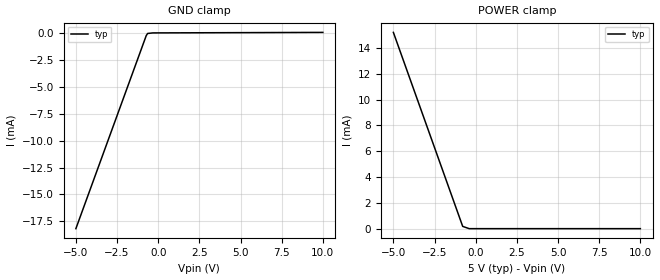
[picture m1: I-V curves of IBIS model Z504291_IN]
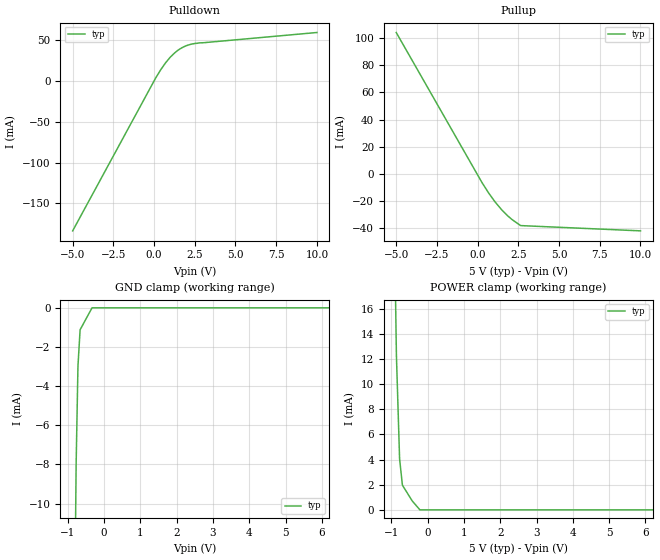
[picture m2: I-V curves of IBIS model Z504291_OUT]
| YOU ARE ONLY AUTHORIZED TO USE THIS SOFTWARE
| ACCORDING TO LICENSOR'S LICENSE RESTRICTIONS.
[IBIS Ver] 3.1
[File Name] mc54hct138aj.ibs
[File Rev] 2.0
[Source] Measured and created by ICX Technology
[Date] Friday 7/14/00 9:08:11 AM
[Copyright]
| (C) COPYRIGHT 1993-2000
| MENTOR GRAPHICS CORPORATION
| ICX STANDARD LIBRARY, ICX PROJECT MODELING,
| ICX CUSTOM MODELING, ICX VENDOR MODEL
| ALL RIGHTS RESERVED.
| THE FOLLOWING ARE TRADEMARKS OR SERVICE MARKS OF
| MENTOR GRAPHICS CORPORATION:ICX (R), ICX STANDARD
| LIBRARY(R), ICX PROJECT MODELING(R), ICX CUSTOM
| MODELING(R), qualityIBIS(TM), MODELVIEWER(TM),
| AND MODELEDITOR(TM)
| ALL COPIES OF SOFTWARE, INCLUDING BUT NOT LIMITED TO
| ANY MODIFICATIONS, ENHANCEMENTS OR DERIVATIVE WORKS,
| MUST CONTAIN ALL MENTOR GRAPHICS CORPORATION'S
| NOTICES AND LEGENDS, INCLUDING THOSE EMBEDDED IN
| SOFTWARE AND THOSE AFFIXED TO SOFTWARE MEDIUM
| AND CONTAINER, AS RECEIVED FROM MENTOR GRAPHICS
| CORPORATION.
|  ZAP Model Builder 2.7
[Component] MC54HCT138AJ
[Manufacturer] OnSemiconductor
[Package]
| variable   typ   min   max
R_pkg  .212ohms NA NA
L_pkg  4.758nH NA NA
C_pkg  1.143pF NA NA
[Pin] signal_name  model_name  R_pin  L_pin C_pin
1 A Z504291_IN .224 7.258n 1.578p
2 B Z504291_IN .216 5.258n 1.288p
3 C Z504291_IN .208 3.758n .998p
4 _G3 Z504291_IN .2 2.758n .708p
5 _G2 Z504291_IN .2 2.758n .708p
6 G1 Z504291_IN .208 3.758n .998p
7 _Y7 Z504291_OUT .216 5.258n 1.288p
8 GND GND .224 7.258n 1.578p
9 _Y6 Z504291_OUT .224 7.258n 1.578p
10 _Y5 Z504291_OUT .216 5.258n 1.288p
11 _Y4 Z504291_OUT .208 3.758n .998p
12 _Y3 Z504291_OUT .2 2.758n .708p
13 _Y2 Z504291_OUT .2 2.758n .708p
14 _Y1 Z504291_OUT .208 3.758n .998p
15 _Y0 Z504291_OUT .216 5.258n 1.288p
16 VCC POWER .224 7.258n 1.578p
| Models and submodels in the file (2): Z504291_IN (Input), Z504291_OUT (Output)
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| (C) COPYRIGHT 1993-2000
| MENTOR GRAPHICS CORPORATION
| ICX STANDARD LIBRARY, ICX PROJECT MODELING,
| ICX CUSTOM MODELING, ICX VENDOR MODEL
| ALL RIGHTS RESERVED.
| THE FOLLOWING ARE TRADEMARKS OR SERVICE MARKS OF
| MENTOR GRAPHICS CORPORATION:ICX (R), ICX STANDARD
| LIBRARY(R), ICX PROJECT MODELING(R), ICX CUSTOM
| MODELING(R), qualityIBIS(TM), MODELVIEWER(TM),
| AND MODELEDITOR(TM)
| ALL COPIES OF SOFTWARE, INCLUDING BUT NOT LIMITED TO
| ANY MODIFICATIONS, ENHANCEMENTS OR DERIVATIVE WORKS,
| MUST CONTAIN ALL MENTOR GRAPHICS CORPORATION'S
| NOTICES AND LEGENDS, INCLUDING THOSE EMBEDDED IN
| SOFTWARE AND THOSE AFFIXED TO SOFTWARE MEDIUM
| AND CONTAINER, AS RECEIVED FROM MENTOR GRAPHICS
| CORPORATION.
| Model Application Version 1.89 2/18/99.
[Model] Z504291_IN
Model_type Input
Vinl = 800.0mV
Vinh = 2.000V
C_comp 4.000pF NA NA
| variable typ   min   max
[Voltage Range] 5.000V NA NA
[GND Clamp Reference] 0.000V NA NA
[POWER Clamp Reference] 5.000V NA NA
[GND Clamp]
-5V       -18.17mA   NA         NA
-727mV    -266.7uA   NA         NA
-644.5mV  -67.21uA   NA         NA
-322.3mV  -14.3uA    NA         NA
10V       33.14uA    NA         NA
[POWER Clamp]
-5V       15.21mA    NA         NA
-790mV    176.1uA    NA         NA
-395mV    0A         NA         NA
10V       0A         NA         NA
| (C) COPYRIGHT 1993-2000
| MENTOR GRAPHICS CORPORATION
| ICX STANDARD LIBRARY, ICX PROJECT MODELING,
| ICX CUSTOM MODELING, ICX VENDOR MODEL
| ALL RIGHTS RESERVED.
| THE FOLLOWING ARE TRADEMARKS OR SERVICE MARKS OF
| MENTOR GRAPHICS CORPORATION:ICX (R), ICX STANDARD
| LIBRARY(R), ICX PROJECT MODELING(R), ICX CUSTOM
| MODELING(R), qualityIBIS(TM), MODELVIEWER(TM),
| AND MODELEDITOR(TM)
| ALL COPIES OF SOFTWARE, INCLUDING BUT NOT LIMITED TO
| ANY MODIFICATIONS, ENHANCEMENTS OR DERIVATIVE WORKS,
| MUST CONTAIN ALL MENTOR GRAPHICS CORPORATION'S
| NOTICES AND LEGENDS, INCLUDING THOSE EMBEDDED IN
| SOFTWARE AND THOSE AFFIXED TO SOFTWARE MEDIUM
| AND CONTAINER, AS RECEIVED FROM MENTOR GRAPHICS
| CORPORATION.
| Model Application Version 1.89 2/18/99.
[Model] Z504291_OUT
Model_type Output
Vref=0.000V
Rref=500.0Mohms
Cref=50.00pF
Vmeas=1.300V
C_comp 8.000pF NA NA
| variable typ   min   max
[Voltage Range] 5.000V NA NA
[POWER Clamp Reference] 5.000V NA NA
[Pullup Reference] 5.000V NA NA
[Pulldown Reference] 0.000V NA NA
[GND Clamp Reference] 0.000V NA NA
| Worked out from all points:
|   slope of the pulldown table from 0 to 0.75 V, typ, clamps not added: 32.2 ohm
|   slope of the pullup table from 0 to 0.75 V, typ, clamps not added: 51.7 ohm
[GND Clamp]
-5V       -805mA     NA         NA
-767.6mV  -7.938mA   NA         NA
-717.8mV  -2.977mA   NA         NA
-658.8mV  -1.123mA   NA         NA
-329.4mV  0A         NA         NA
10V       0A         NA         NA
[Pulldown]
-5V       -183.6mA   NA         NA
103mV     3.778mA    NA         NA
703.1mV   22.15mA    NA         NA
1.269V    34.4mA     NA         NA
1.896V    42.48mA    NA         NA
2.51V     45.98mA    NA         NA
10V       59.31mA    NA         NA
[Pullup]
-5V       104.1mA    NA         NA
257mV     -6.18mA    NA         NA
667mV     -13.93mA   NA         NA
1.079V    -20.77mA   NA         NA
1.49V     -26.6mA    NA         NA
1.826V    -30.66mA   NA         NA
2.1V      -33.51mA   NA         NA
2.637V    -38.06mA   NA         NA
10V       -41.94mA   NA         NA
[POWER Clamp]
-5V       812.9mA    NA         NA
-859mV    12.37mA    NA         NA
-771mV    4.058mA    NA         NA
-693mV    1.964mA    NA         NA
-424mV    713.1uA    NA         NA
-212mV    0A         NA         NA
10V       0A         NA         NA
[Ramp]
| variable typ min max
dV/dt_r 2.751/1.095n NA NA
dV/dt_f 2.751/1.534n NA NA
R_load = 500.0Ohms
